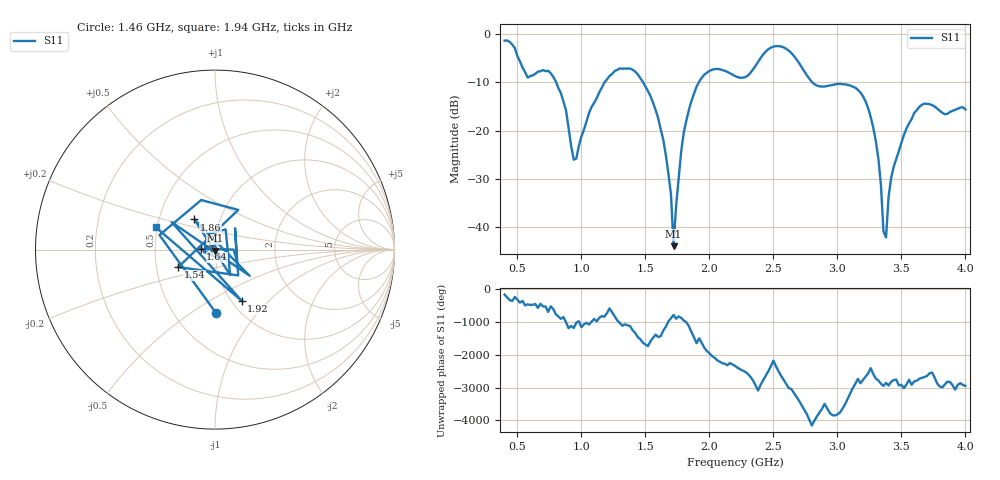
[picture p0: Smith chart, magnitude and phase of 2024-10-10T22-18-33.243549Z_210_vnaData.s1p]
! Created with skrf (http://scikit-rf.org).
# Hz S RI R 50.0
!freq ReS11 ImS11
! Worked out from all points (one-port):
!   181 points, 400 MHz to 4 GHz, reference 50 ohm
!   lowest |S11| = -43.9 dB at 1.72 GHz (marker M1), VSWR 1.01, Z = 50.2 - j0.612 ohm
!   |S11| at or under -10 dB: 803 MHz to 1.18 GHz (377.1 MHz wide, 38 % of centre); 1.482 GHz to 1.917 GHz (435.3 MHz wide, 25.6 % of centre); 2.805 GHz to end of sweep
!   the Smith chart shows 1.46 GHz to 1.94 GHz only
!   S11 on the Smith chart (normalised r, x): 1.46 GHz: 0.79, -0.63; 1.54 GHz: 0.65, -0.13; 1.64 GHz: 0.85, +0.01; 1.86 GHz: 0.75, +0.26; 1.92 GHz: 1.11, -0.71; 1.94 GHz: 0.49, +0.14
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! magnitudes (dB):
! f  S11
! 400 MHz  -1.4
! 760 MHz  -8.1
! 860 MHz  -14.0
! 960 MHz  -25.8
! 1.08 GHz  -15.1
! 1.3 GHz  -7.1
! 1.46 GHz  -9.1
! 1.54 GHz  -12.9
! 1.64 GHz  -22.0
! 1.7 GHz  -33.3
! 1.72 GHz  -43.9
! 1.76 GHz  -29.8
! 1.86 GHz  -13.8
! 1.92 GHz  -9.9
! 1.94 GHz  -9.1
! 2.2 GHz  -8.7
! 2.5 GHz  -2.6
! 2.66 GHz  -4.5
! 2.84 GHz  -10.7
! 3.1 GHz  -10.7
! 3.28 GHz  -19.4
! 3.32 GHz  -25.8
! 3.36 GHz  -40.9
! 3.38 GHz  -42.1
! 3.42 GHz  -29.8
! 3.56 GHz  -18.5
! 3.68 GHz  -14.4
! 4 GHz  -15.6
